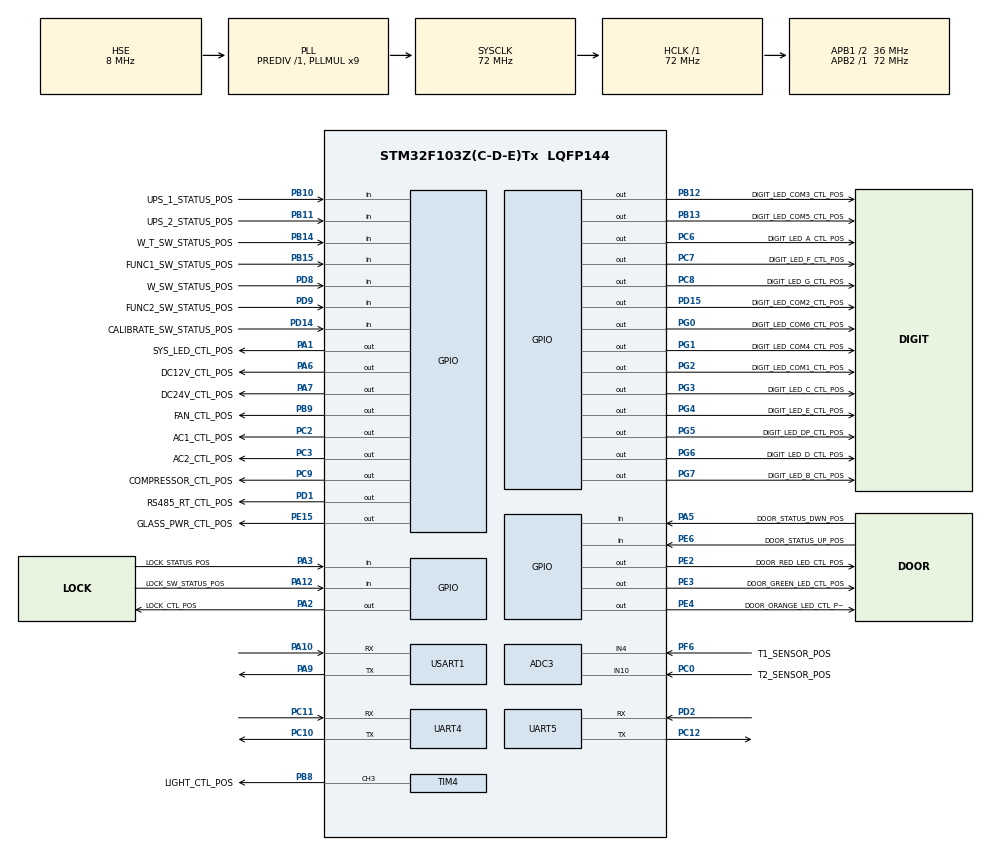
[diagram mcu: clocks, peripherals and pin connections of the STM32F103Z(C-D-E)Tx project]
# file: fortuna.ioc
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ADC3.Channel-0\#ChannelRegularConversion=ADC_CHANNEL_4
ADC3.Channel-1\#ChannelRegularConversion=ADC_CHANNEL_10
ADC3.ContinuousConvMode=DISABLE
ADC3.DataAlign=ADC_DATAALIGN_RIGHT
ADC3.DiscontinuousConvMode=DISABLE
ADC3.EnableAnalogWatchDog=false
ADC3.EnableRegularConversion=ENABLE
ADC3.ExternalTrigConv=ADC_SOFTWARE_START
ADC3.InjNumberOfConversion=0
ADC3.NbrOfConversion=2
ADC3.NbrOfConversionFlag=1
ADC3.Rank-0\#ChannelRegularConversion=1
ADC3.Rank-1\#ChannelRegularConversion=2
ADC3.SamplingTime-0\#ChannelRegularConversion=ADC_SAMPLETIME_28CYCLES_5
ADC3.SamplingTime-1\#ChannelRegularConversion=ADC_SAMPLETIME_28CYCLES_5
ADC3.ScanConvMode=ADC_SCAN_ENABLE
Dma.ADC3.0.Direction=DMA_PERIPH_TO_MEMORY
Dma.ADC3.0.Instance=DMA2_Channel5
Dma.ADC3.0.MemDataAlignment=DMA_MDATAALIGN_HALFWORD
Dma.ADC3.0.MemInc=DMA_MINC_ENABLE
Dma.ADC3.0.Mode=DMA_CIRCULAR
Dma.ADC3.0.PeriphDataAlignment=DMA_PDATAALIGN_HALFWORD
Dma.ADC3.0.PeriphInc=DMA_PINC_DISABLE
Dma.ADC3.0.Priority=DMA_PRIORITY_LOW
Dma.Request0=ADC3
FREERTOS.INCLUDE_eTaskGetState=1
FREERTOS.INCLUDE_pcTaskGetTaskName=1
FREERTOS.INCLUDE_uxTaskGetStackHighWaterMark=1
FREERTOS.INCLUDE_vTaskDelayUntil=1
FREERTOS.INCLUDE_xEventGroupSetBitFromISR=1
FREERTOS.INCLUDE_xTaskGetCurrentTaskHandle=1
FREERTOS.INCLUDE_xTimerPendFunctionCall=1
FREERTOS.Tasks01=defaultTask,0,256,StartDefaultTask,Default,NULL,Dynamic,NULL,NULL
FREERTOS.configCHECK_FOR_STACK_OVERFLOW=2
FREERTOS.configGENERATE_RUN_TIME_STATS=1
FREERTOS.configMAX_TASK_NAME_LEN=32
FREERTOS.configMINIMAL_STACK_SIZE=256
FREERTOS.configTIMER_TASK_PRIORITY=4
FREERTOS.configTIMER_TASK_STACK_DEPTH=256
FREERTOS.configTOTAL_HEAP_SIZE=40960
FREERTOS.configUSE_IDLE_HOOK=1
FREERTOS.configUSE_MALLOC_FAILED_HOOK=1
FREERTOS.configUSE_STATS_FORMATTING_FUNCTIONS=1
FREERTOS.configUSE_TICK_HOOK=1
FREERTOS.configUSE_TIMERS=1
FREERTOS.configUSE_TRACE_FACILITY=1
IWDG.Prescaler=IWDG_PRESCALER_4
IWDG.Reload=2499
Mcu.Family=STM32F1
Mcu.Name=STM32F103Z(C-D-E)Tx
Mcu.Package=LQFP144
NVIC.DMA2_Channel4_5_IRQn=true\:5\:0\:false\:false\:true\:true\:false
NVIC.PriorityGroup=NVIC_PRIORITYGROUP_4
NVIC.UART5_IRQn=true\:5\:0\:false\:false\:true\:true\:true
NVIC.USART1_IRQn=true\:5\:0\:false\:false\:true\:true\:true
OSC_IN.Mode=HSE-External-Oscillator
OSC_IN.Signal=RCC_OSC_IN
OSC_OUT.Mode=HSE-External-Oscillator
OSC_OUT.Signal=RCC_OSC_OUT
PA1.GPIO_Label=SYS_LED_CTL_POS
PA1.Signal=GPIO_Output
PA10.Mode=Asynchronous
PA10.Signal=USART1_RX
PA12.GPIO_Label=LOCK_SW_STATUS_POS
PA12.Signal=GPIO_Input
PA13.Mode=JTAG_5_pins
PA13.Signal=SYS_JTMS-SWDIO
PA14.Mode=JTAG_5_pins
PA14.Signal=SYS_JTCK-SWCLK
PA15.Mode=JTAG_5_pins
PA15.Signal=SYS_JTDI
PA2.GPIO_Label=LOCK_CTL_POS
PA2.Signal=GPIO_Output
PA3.GPIO_Label=LOCK_STATUS_POS
PA3.Signal=GPIO_Input
PA5.GPIO_Label=DOOR_STATUS_DWN_POS
PA5.Signal=GPIO_Input
PA6.GPIO_Label=DC12V_CTL_POS
PA6.PinState=GPIO_PIN_RESET
PA6.Signal=GPIO_Output
PA7.GPIO_Label=DC24V_CTL_POS
PA7.PinState=GPIO_PIN_RESET
PA7.Signal=GPIO_Output
PA9.Mode=Asynchronous
PA9.Signal=USART1_TX
PB10.GPIO_Label=UPS_1_STATUS_POS
PB10.GPIO_PuPd=GPIO_PULLDOWN
PB10.Signal=GPIO_Input
PB11.GPIO_Label=UPS_2_STATUS_POS
PB11.GPIO_PuPd=GPIO_PULLDOWN
PB11.Signal=GPIO_Input
PB12.GPIO_Label=DIGIT_LED_COM3_CTL_POS
PB12.Signal=GPIO_Output
PB13.GPIO_Label=DIGIT_LED_COM5_CTL_POS
PB13.Signal=GPIO_Output
PB14.GPIO_Label=W_T_SW_STATUS_POS
PB14.Signal=GPIO_Input
PB15.GPIO_Label=FUNC1_SW_STATUS_POS
PB15.Signal=GPIO_Input
PB3.Mode=JTAG_5_pins
PB3.Signal=SYS_JTDO-TRACESWO
PB4.Mode=JTAG_5_pins
PB4.Signal=SYS_NJTRST
PB8.GPIO_Label=LIGHT_CTL_POS
PB8.Signal=S_TIM4_CH3
PB9.GPIO_Label=FAN_CTL_POS
PB9.Signal=GPIO_Output
PC0.GPIO_Label=T2_SENSOR_POS
PC0.Signal=ADCx_IN10
PC10.Mode=Asynchronous
PC10.Signal=UART4_TX
PC11.Mode=Asynchronous
PC11.Signal=UART4_RX
PC12.Mode=Asynchronous
PC12.Signal=UART5_TX
PC2.GPIO_Label=AC1_CTL_POS
PC2.Signal=GPIO_Output
PC3.GPIO_Label=AC2_CTL_POS
PC3.Signal=GPIO_Output
PC6.GPIO_Label=DIGIT_LED_A_CTL_POS
PC6.Signal=GPIO_Output
PC7.GPIO_Label=DIGIT_LED_F_CTL_POS
PC7.Signal=GPIO_Output
PC8.GPIO_Label=DIGIT_LED_G_CTL_POS
PC8.Signal=GPIO_Output
PC9.GPIO_Label=COMPRESSOR_CTL_POS
PC9.Signal=GPIO_Output
PD1.GPIO_Label=RS485_RT_CTL_POS
PD1.Signal=GPIO_Output
PD14.GPIO_Label=CALIBRATE_SW_STATUS_POS
PD14.Signal=GPIO_Input
PD15.GPIO_Label=DIGIT_LED_COM2_CTL_POS
PD15.Signal=GPIO_Output
PD2.Mode=Asynchronous
PD2.Signal=UART5_RX
PD8.GPIO_Label=W_SW_STATUS_POS
PD8.Signal=GPIO_Input
PD9.GPIO_Label=FUNC2_SW_STATUS_POS
PD9.Signal=GPIO_Input
PE15.GPIO_Label=GLASS_PWR_CTL_POS
PE15.Signal=GPIO_Output
PE2.GPIO_Label=DOOR_RED_LED_CTL_POS
PE2.Signal=GPIO_Output
PE3.GPIO_Label=DOOR_GREEN_LED_CTL_POS
PE3.Signal=GPIO_Output
PE4.GPIO_Label=DOOR_ORANGE_LED_CTL_POS
PE4.Signal=GPIO_Output
PE6.GPIO_Label=DOOR_STATUS_UP_POS
PE6.Signal=GPIO_Input
PF6.GPIO_Label=T1_SENSOR_POS
PF6.Mode=IN4
PF6.Signal=ADC3_IN4
PG0.GPIO_Label=DIGIT_LED_COM6_CTL_POS
PG0.Signal=GPIO_Output
PG1.GPIO_Label=DIGIT_LED_COM4_CTL_POS
PG1.Signal=GPIO_Output
PG2.GPIO_Label=DIGIT_LED_COM1_CTL_POS
PG2.Signal=GPIO_Output
PG3.GPIO_Label=DIGIT_LED_C_CTL_POS
PG3.Signal=GPIO_Output
PG4.GPIO_Label=DIGIT_LED_E_CTL_POS
PG4.Signal=GPIO_Output
PG5.GPIO_Label=DIGIT_LED_DP_CTL_POS
PG5.Signal=GPIO_Output
PG6.GPIO_Label=DIGIT_LED_D_CTL_POS
PG6.Signal=GPIO_Output
PG7.GPIO_Label=DIGIT_LED_B_CTL_POS
PG7.Signal=GPIO_Output
ProjectManager.HeapSize=0x00
ProjectManager.StackSize=0x400
ProjectManager.TargetToolchain=EWARM
RCC.ADCPresc=RCC_ADCPCLK2_DIV6
RCC.AHBFreq_Value=72000000
RCC.APB1CLKDivider=RCC_HCLK_DIV2
RCC.APB1Freq_Value=36000000
RCC.APB1TimFreq_Value=72000000
RCC.APB2Freq_Value=72000000
RCC.APB2TimFreq_Value=72000000
RCC.HCLKFreq_Value=72000000
RCC.PLLMUL=RCC_PLL_MUL9
RCC.PLLSourceVirtual=RCC_PLLSOURCE_HSE
RCC.SYSCLKFreq_VALUE=72000000
RCC.SYSCLKSource=RCC_SYSCLKSOURCE_PLLCLK
RCC.USBFreq_Value=72000000
SH.ADCx_IN10.0=ADC3_IN10,IN10
SH.S_TIM4_CH3.0=TIM4_CH3,PWM Generation3 CH3
TIM4.Channel-PWM\ Generation3\ CH3=TIM_CHANNEL_3
TIM4.Period=3999
TIM4.Prescaler=71
TIM4.Pulse-PWM\ Generation3\ CH3=2999
UART4.VirtualMode=Asynchronous
UART5.VirtualMode=Asynchronous
USART1.VirtualMode=VM_ASYNC
VP_FREERTOS_VS_ENABLE.Mode=Enabled
VP_IWDG_VS_IWDG.Mode=IWDG_Activate
board=fortuna

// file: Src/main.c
/**
  ******************************************************************************
  * File Name          : main.c
  * Description        : Main program body
  ******************************************************************************
  * This notice applies to any and all portions of this file
  * that are not between comment pairs USER CODE BEGIN and
  * USER CODE END. Other portions of this file, whether
  * inserted by the user or by software development tools
  * are owned by their respective copyright owners.
  *
  * Copyright (c) 2018 STMicroelectronics International N.V.
  * All rights reserved.
  *
  * Redistribution and use in source and binary forms, with or without
  * modification, are permitted, provided that the following conditions are met:
  *
  * 1. Redistribution of source code must retain the above copyright notice,
  *    this list of conditions and the following disclaimer.
  * 2. Redistributions in binary form must reproduce the above copyright notice,
  *    this list of conditions and the following disclaimer in the documentation
  *    and/or other materials provided with the distribution.
  * 3. Neither the name of STMicroelectronics nor the names of other
  *    contributors to this software may be used to endorse or promote products
  *    derived from this software without specific written permission.
  * 4. This software, including modifications and/or derivative works of this
  *    software, must execute solely and exclusively on microcontroller or
  *    microprocessor devices manufactured by or for STMicroelectronics.
  * 5. Redistribution and use of this software other than as permitted under
  *    this license is void and will automatically terminate your rights under
  *    this license.
  *
  * THIS SOFTWARE IS PROVIDED BY STMICROELECTRONICS AND CONTRIBUTORS "AS IS"
  * AND ANY EXPRESS, IMPLIED OR STATUTORY WARRANTIES, INCLUDING, BUT NOT
  * LIMITED TO, THE IMPLIED WARRANTIES OF MERCHANTABILITY, FITNESS FOR A
  * PARTICULAR PURPOSE AND NON-INFRINGEMENT OF THIRD PARTY INTELLECTUAL PROPERTY
  * RIGHTS ARE DISCLAIMED TO THE FULLEST EXTENT PERMITTED BY LAW. IN NO EVENT
  * SHALL STMICROELECTRONICS OR CONTRIBUTORS BE LIABLE FOR ANY DIRECT, INDIRECT,
  * INCIDENTAL, SPECIAL, EXEMPLARY, OR CONSEQUENTIAL DAMAGES (INCLUDING, BUT NOT
  * LIMITED TO, PROCUREMENT OF SUBSTITUTE GOODS OR SERVICES; LOSS OF USE, DATA,
  * OR PROFITS; OR BUSINESS INTERRUPTION) HOWEVER CAUSED AND ON ANY THEORY OF
  * LIABILITY, WHETHER IN CONTRACT, STRICT LIABILITY, OR TORT (INCLUDING
  * NEGLIGENCE OR OTHERWISE) ARISING IN ANY WAY OUT OF THE USE OF THIS SOFTWARE,
  * EVEN IF ADVISED OF THE POSSIBILITY OF SUCH DAMAGE.
  *
  ******************************************************************************
  */

#include "main.h"
#include "stm32f1xx_hal.h"
#include "cmsis_os.h"
#include "adc.h"
#include "dma.h"
#include "iwdg.h"
#include "tim.h"
#include "usart.h"
#include "gpio.h"

/* USER CODE BEGIN PV */
/* Private variables ---------------------------------------------------------*/

/* USER CODE END PV */

void SystemClock_Config(void);
void MX_FREERTOS_Init(void);

/* USER CODE BEGIN PFP */
/* Private function prototypes -----------------------------------------------*/

/* USER CODE END PFP */

int main(void)
{

  /* MCU Configuration----------------------------------------------------------*/

  /* Reset of all peripherals, Initializes the Flash interface and the Systick. */
  HAL_Init();

  /* Configure the system clock */
  SystemClock_Config();

  /* Initialize all configured peripherals */
  MX_GPIO_Init();
  MX_DMA_Init();
  MX_USART1_UART_Init();
  MX_IWDG_Init();
  MX_ADC3_Init();
  MX_UART5_Init();
  MX_UART4_Init();
  MX_TIM4_Init();

  /* Call init function for freertos objects (in freertos.c) */
  MX_FREERTOS_Init();

  /* Start scheduler */
  osKernelStart();

  /* We should never get here as control is now taken by the scheduler */

  /* Infinite loop */
  while (1)
  {

  }

}

/** System Clock Configuration
*/
void SystemClock_Config(void)
{

  RCC_OscInitTypeDef RCC_OscInitStruct;
  RCC_ClkInitTypeDef RCC_ClkInitStruct;
  RCC_PeriphCLKInitTypeDef PeriphClkInit;

    /**Initializes the CPU, AHB and APB busses clocks
    */
  RCC_OscInitStruct.OscillatorType = RCC_OSCILLATORTYPE_LSI|RCC_OSCILLATORTYPE_HSE;
  RCC_OscInitStruct.HSEState = RCC_HSE_ON;
  RCC_OscInitStruct.HSEPredivValue = RCC_HSE_PREDIV_DIV1;
  RCC_OscInitStruct.HSIState = RCC_HSI_ON;
  RCC_OscInitStruct.LSIState = RCC_LSI_ON;
  RCC_OscInitStruct.PLL.PLLState = RCC_PLL_ON;
  RCC_OscInitStruct.PLL.PLLSource = RCC_PLLSOURCE_HSE;
  RCC_OscInitStruct.PLL.PLLMUL = RCC_PLL_MUL9;
  if (HAL_RCC_OscConfig(&RCC_OscInitStruct) != HAL_OK)
  {
    _Error_Handler(__FILE__, __LINE__);
  }

    /**Initializes the CPU, AHB and APB busses clocks
    */
  RCC_ClkInitStruct.ClockType = RCC_CLOCKTYPE_HCLK|RCC_CLOCKTYPE_SYSCLK
                              |RCC_CLOCKTYPE_PCLK1|RCC_CLOCKTYPE_PCLK2;
  RCC_ClkInitStruct.SYSCLKSource = RCC_SYSCLKSOURCE_PLLCLK;
  RCC_ClkInitStruct.AHBCLKDivider = RCC_SYSCLK_DIV1;
  RCC_ClkInitStruct.APB1CLKDivider = RCC_HCLK_DIV2;
  RCC_ClkInitStruct.APB2CLKDivider = RCC_HCLK_DIV1;

  if (HAL_RCC_ClockConfig(&RCC_ClkInitStruct, FLASH_LATENCY_2) != HAL_OK)
  {
    _Error_Handler(__FILE__, __LINE__);
  }

  PeriphClkInit.PeriphClockSelection = RCC_PERIPHCLK_ADC;
  PeriphClkInit.AdcClockSelection = RCC_ADCPCLK2_DIV6;
  if (HAL_RCCEx_PeriphCLKConfig(&PeriphClkInit) != HAL_OK)
  {
    _Error_Handler(__FILE__, __LINE__);
  }

    /**Configure the Systick interrupt time
    */
  HAL_SYSTICK_Config(HAL_RCC_GetHCLKFreq()/1000);

    /**Configure the Systick
    */
  HAL_SYSTICK_CLKSourceConfig(SYSTICK_CLKSOURCE_HCLK);

  /* SysTick_IRQn interrupt configuration */
  HAL_NVIC_SetPriority(SysTick_IRQn, 15, 0);
}

void _Error_Handler(char * file, int line)
{
  while(1)
  {
  }
}

/************************ (C) COPYRIGHT STMicroelectronics *****END OF FILE****/

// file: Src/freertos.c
/**
  ******************************************************************************
  * File Name          : freertos.c
  * Description        : Code for freertos applications
  ******************************************************************************
  * This notice applies to any and all portions of this file
  * that are not between comment pairs USER CODE BEGIN and
  * USER CODE END. Other portions of this file, whether
  * inserted by the user or by software development tools
  * are owned by their respective copyright owners.
  *
  * Copyright (c) 2018 STMicroelectronics International N.V.
  * All rights reserved.
  *
  * Redistribution and use in source and binary forms, with or without
  * modification, are permitted, provided that the following conditions are met:
  *
  * 1. Redistribution of source code must retain the above copyright notice,
  *    this list of conditions and the following disclaimer.
  * 2. Redistributions in binary form must reproduce the above copyright notice,
  *    this list of conditions and the following disclaimer in the documentation
  *    and/or other materials provided with the distribution.
  * 3. Neither the name of STMicroelectronics nor the names of other
  *    contributors to this software may be used to endorse or promote products
  *    derived from this software without specific written permission.
  * 4. This software, including modifications and/or derivative works of this
  *    software, must execute solely and exclusively on microcontroller or
  *    microprocessor devices manufactured by or for STMicroelectronics.
  * 5. Redistribution and use of this software other than as permitted under
  *    this license is void and will automatically terminate your rights under
  *    this license.
  *
  * THIS SOFTWARE IS PROVIDED BY STMICROELECTRONICS AND CONTRIBUTORS "AS IS"
  * AND ANY EXPRESS, IMPLIED OR STATUTORY WARRANTIES, INCLUDING, BUT NOT
  * LIMITED TO, THE IMPLIED WARRANTIES OF MERCHANTABILITY, FITNESS FOR A
  * PARTICULAR PURPOSE AND NON-INFRINGEMENT OF THIRD PARTY INTELLECTUAL PROPERTY
  * RIGHTS ARE DISCLAIMED TO THE FULLEST EXTENT PERMITTED BY LAW. IN NO EVENT
  * SHALL STMICROELECTRONICS OR CONTRIBUTORS BE LIABLE FOR ANY DIRECT, INDIRECT,
  * INCIDENTAL, SPECIAL, EXEMPLARY, OR CONSEQUENTIAL DAMAGES (INCLUDING, BUT NOT
  * LIMITED TO, PROCUREMENT OF SUBSTITUTE GOODS OR SERVICES; LOSS OF USE, DATA,
  * OR PROFITS; OR BUSINESS INTERRUPTION) HOWEVER CAUSED AND ON ANY THEORY OF
  * LIABILITY, WHETHER IN CONTRACT, STRICT LIABILITY, OR TORT (INCLUDING
  * NEGLIGENCE OR OTHERWISE) ARISING IN ANY WAY OUT OF THE USE OF THIS SOFTWARE,
  * EVEN IF ADVISED OF THE POSSIBILITY OF SUCH DAMAGE.
  *
  ******************************************************************************
  */

#include "FreeRTOS.h"
#include "task.h"
#include "cmsis_os.h"

/* USER CODE BEGIN Includes */
#include "app_common.h"
#include "host_comm_task.h"
#include "scale_poll_task.h"
#include "scale_func_task.h"
#include "scale_comm_task.h"
#include "lock_task.h"
#include "door_task.h"
#include "switch_task.h"
#include "display_task.h"
#include "dc_task.h"
#include "light_task.h"
#include "fan_task.h"
#include "sys_led_task.h"
#include "glass_pwr_task.h"
#include "temperature_task.h"
#include "compressor_task.h"
#include "glass_pwr_task.h"
#include "watch_dog_task.h"
#include "ups_task.h"
#include "weight_cache_task.h"
#include "temperature_cache_task.h"
#include "calibrate_cache_task.h"
#include "debug_task.h"
#define APP_LOG_MODULE_NAME   "[freertos]"
#define APP_LOG_MODULE_LEVEL   APP_LOG_LEVEL_DEBUG
#include "app_log.h"
#include "app_error.h"
/* USER CODE END Includes */

osThreadId defaultTaskHandle;

/* USER CODE BEGIN Variables */
EventGroupHandle_t task_sync_evt_group_hdl;
static void create_user_tasks();
/* USER CODE END Variables */

void StartDefaultTask(void const * argument);

void MX_FREERTOS_Init(void); /* (MISRA C 2004 rule 8.1) */

/* Hook prototypes */
void configureTimerForRunTimeStats(void);
unsigned long getRunTimeCounterValue(void);
void vApplicationIdleHook(void);
void vApplicationTickHook(void);
void vApplicationStackOverflowHook(xTaskHandle xTask, signed char *pcTaskName);
void vApplicationMallocFailedHook(void);

/* USER CODE BEGIN 1 */
/* Functions needed when configGENERATE_RUN_TIME_STATS is on */
__weak void configureTimerForRunTimeStats(void)
{

}

__weak unsigned long getRunTimeCounterValue(void)
{
return 0;
}
/* USER CODE END 1 */

/* USER CODE BEGIN 2 */
__weak void vApplicationIdleHook( void )
{
   /* vApplicationIdleHook() will only be called if configUSE_IDLE_HOOK is set
   to 1 in FreeRTOSConfig.h. It will be called on each iteration of the idle
   task. It is essential that code added to this hook function never attempts
   to block in any way (for example, call xQueueReceive() with a block time
   specified, or call vTaskDelay()). If the application makes use of the
   vTaskDelete() API function (as this demo application does) then it is also
   important that vApplicationIdleHook() is permitted to return to its calling
   function, because it is the responsibility of the idle task to clean up
   memory allocated by the kernel to any task that has since been deleted. */
}
/* USER CODE END 2 */

/* USER CODE BEGIN 3 */
__weak void vApplicationTickHook( void )
{
   /* This function will be called by each tick interrupt if
   configUSE_TICK_HOOK is set to 1 in FreeRTOSConfig.h. User code can be
   added here, but the tick hook is called from an interrupt context, so
   code must not attempt to block, and only the interrupt safe FreeRTOS API
   functions can be used (those that end in FromISR()). */
}
/* USER CODE END 3 */

/* USER CODE BEGIN 4 */
__weak void vApplicationStackOverflowHook(xTaskHandle xTask, signed char *pcTaskName)
{
   /* Run time stack overflow checking is performed if
   configCHECK_FOR_STACK_OVERFLOW is defined to 1 or 2. This hook function is
   called if a stack overflow is detected. */
  APP_LOG_ERROR("%s任务栈溢出.\r\n",pcTaskName);
  APP_ERROR_HANDLER(0);
}
/* USER CODE END 4 */

/* USER CODE BEGIN 5 */
__weak void vApplicationMallocFailedHook(void)
{
   /* vApplicationMallocFailedHook() will only be called if
   configUSE_MALLOC_FAILED_HOOK is set to 1 in FreeRTOSConfig.h. It is a hook
   function that will get called if a call to pvPortMalloc() fails.
   pvPortMalloc() is called internally by the kernel whenever a task, queue,
   timer or semaphore is created. It is also called by various parts of the
   demo application. If heap_1.c or heap_2.c are used, then the size of the
   heap available to pvPortMalloc() is defined by configTOTAL_HEAP_SIZE in
   FreeRTOSConfig.h, and the xPortGetFreeHeapSize() API function can be used
   to query the size of free heap space that remains (although it does not
   provide information on how the remaining heap might be fragmented). */
  APP_LOG_ERROR("系统内存分配失败.\r\n");
  APP_ERROR_HANDLER(0);
}
/* USER CODE END 5 */

/* Init FreeRTOS */

void MX_FREERTOS_Init(void) {

  /* Create the thread(s) */
  /* definition and creation of defaultTask */
  osThreadDef(defaultTask, StartDefaultTask, osPriorityNormal, 0, 256);
  defaultTaskHandle = osThreadCreate(osThread(defaultTask), NULL);

}

/* StartDefaultTask function */
void StartDefaultTask(void const * argument)
{

  /* USER CODE BEGIN StartDefaultTask */
  /* Infinite loop */
  /*创建用户任务*/
  APP_LOG_DEBUG("创建用户任务...\r\n");

  create_user_tasks();
  for(;;)
  {
    osDelay(1);
  }
  /* USER CODE END StartDefaultTask */
}

/* USER CODE BEGIN Application */
static void create_user_tasks()
{
 /*创建任务同步事件组*/
  task_sync_evt_group_hdl=xEventGroupCreate();
  APP_ASSERT(task_sync_evt_group_hdl);

  /*创建主机通信任务*/
  osThreadDef(host_comm_task, host_comm_task, osPriorityNormal, 0, 256);
  host_comm_task_hdl = osThreadCreate(osThread(host_comm_task), NULL);
  APP_ASSERT(host_comm_task_hdl);
  /*创建电子秤功能任务*/
  osThreadDef(scale_func_task, scale_func_task, osPriorityNormal, 0, 256);
  scale_func_task_hdl = osThreadCreate(osThread(scale_func_task), NULL);
  APP_ASSERT(scale_func_task_hdl);
  /*创建电子秤轮询任务*/
  osThreadDef(scale_poll_task, scale_poll_task, osPriorityNormal, 0, 256);
  scale_poll_task_hdl = osThreadCreate(osThread(scale_poll_task), NULL);
  APP_ASSERT(scale_poll_task_hdl);
  /*创建电子称通信任务*/
  osThreadDef(scale_comm_task, scale_comm_task, osPriorityNormal, 0, 256);
  scale_comm_task_hdl = osThreadCreate(osThread(scale_comm_task), NULL);
  APP_ASSERT(scale_comm_task_hdl);
  /*创建看门狗任务*/
  osThreadDef(watch_dog_task, watch_dog_task, osPriorityNormal, 0, 128);
  watch_dog_task_hdl = osThreadCreate(osThread(watch_dog_task), NULL);
  APP_ASSERT(watch_dog_task_hdl);
  /*创建调试任务*/
  osThreadDef(debug_task, debug_task, osPriorityNormal, 0, 256);
  debug_task_hdl = osThreadCreate(osThread(debug_task), NULL);
  APP_ASSERT(debug_task_hdl);
  /*创建锁任务*/
  osThreadDef(lock_task, lock_task, osPriorityNormal, 0, 128);
  lock_task_hdl = osThreadCreate(osThread(lock_task), NULL);
  APP_ASSERT(lock_task_hdl);
  /*创建门任务*/
  osThreadDef(door_task,door_task, osPriorityNormal, 0, 128);
  door_task_hdl = osThreadCreate(osThread(door_task), NULL);
  APP_ASSERT(door_task_hdl);
  /*创建数码管显示任务*/
  osThreadDef(display_task, display_task, osPriorityNormal, 0, 128);
  display_task_hdl = osThreadCreate(osThread(display_task), NULL);
  APP_ASSERT(display_task_hdl);
  /*创建按键任务*/
  osThreadDef(switch_task,switch_task, osPriorityNormal, 0, 256);
  switch_task_hdl = osThreadCreate(osThread(switch_task), NULL);
  APP_ASSERT(switch_task_hdl);
  /*创建压缩任务*/
  osThreadDef(compressor_task, compressor_task, osPriorityNormal, 0, 128);
  compressor_task_hdl = osThreadCreate(osThread(compressor_task), NULL);
  APP_ASSERT(compressor_task_hdl);
  /*创建系统LED任务*/
  osThreadDef(sys_led_task, sys_led_task, osPriorityNormal, 0, 128);
  sys_led_task_hdl = osThreadCreate(osThread(sys_led_task), NULL);
  APP_ASSERT(sys_led_task_hdl);
  /*创建灯带任务*/
  osThreadDef(light_task, light_task, osPriorityNormal, 0, 128);
  light_task_hdl = osThreadCreate(osThread(light_task), NULL);
  APP_ASSERT(light_task_hdl);
  /*创建风扇任务*/
  osThreadDef(fan_task, fan_task, osPriorityNormal, 0, 128);
  fan_task_hdl = osThreadCreate(osThread(fan_task), NULL);
  APP_ASSERT(fan_task_hdl);
  /*创建DC任务*/
  osThreadDef(dc_task, dc_task, osPriorityNormal, 0, 128);
  dc_task_hdl = osThreadCreate(osThread(dc_task), NULL);
  APP_ASSERT(dc_task_hdl);
  /*创建玻璃电源任务*/
  osThreadDef(glass_pwr_task, glass_pwr_task, osPriorityNormal, 0, 128);
  glass_pwr_task_hdl = osThreadCreate(osThread(glass_pwr_task), NULL);
  APP_ASSERT(glass_pwr_task_hdl);
  /*创建温度任务*/
  osThreadDef(temperature_task, temperature_task, osPriorityNormal, 0, 128);
  temperature_task_hdl = osThreadCreate(osThread(temperature_task), NULL);
  APP_ASSERT(temperature_task_hdl);
  /*创建UPS任务*/
  osThreadDef(ups_task, ups_task, osPriorityNormal, 0, 128);
  ups_task_hdl = osThreadCreate(osThread(ups_task), NULL);
  APP_ASSERT(ups_task_hdl);
  /*创建重量缓存任务*/
  osThreadDef(weight_cache_task, weight_cache_task, osPriorityNormal, 0, 256);
  weight_cache_task_hdl = osThreadCreate(osThread(weight_cache_task), NULL);
  APP_ASSERT(weight_cache_task_hdl);
  /*创建温度缓存任务*/
  osThreadDef(temperature_cache_task, temperature_cache_task, osPriorityNormal, 0, 256);
  temperature_cache_task_hdl = osThreadCreate(osThread(temperature_cache_task), NULL);
  APP_ASSERT(temperature_cache_task_hdl);
  /*创建校准缓存任务*/
  osThreadDef(calibrate_cache_task,calibrate_cache_task, osPriorityNormal, 0, 256);
  calibrate_cache_task_hdl = osThreadCreate(osThread(calibrate_cache_task), NULL);
  APP_ASSERT(calibrate_cache_task_hdl);

  APP_LOG_INFO("@所有的任务创建成功.\r\n");
}
/* USER CODE END Application */

/************************ (C) COPYRIGHT STMicroelectronics *****END OF FILE****/
